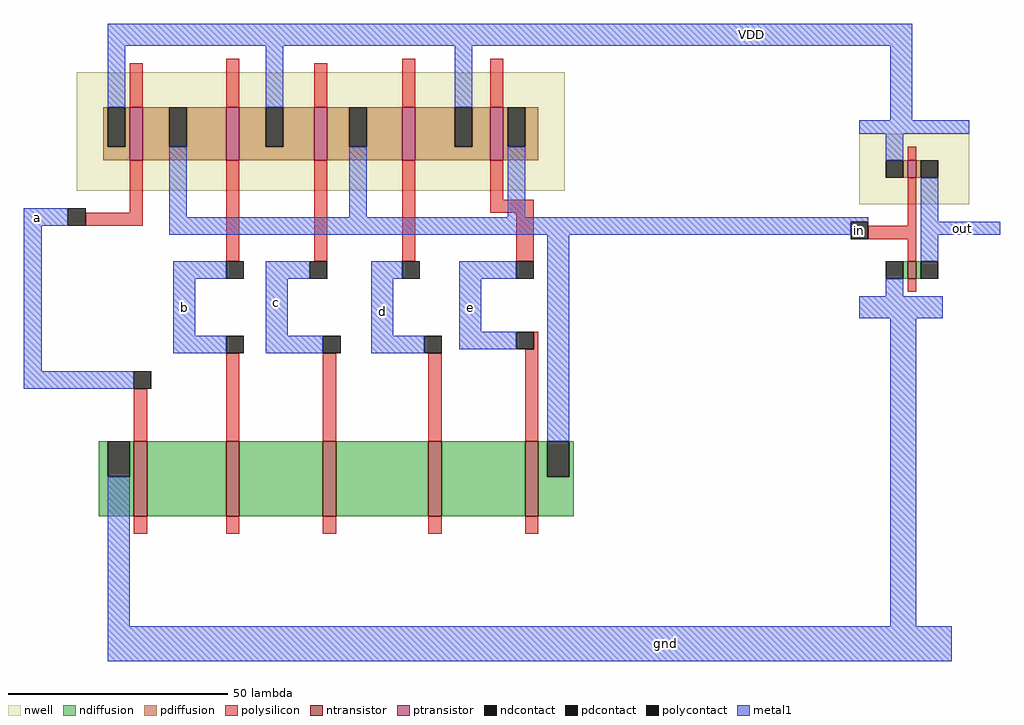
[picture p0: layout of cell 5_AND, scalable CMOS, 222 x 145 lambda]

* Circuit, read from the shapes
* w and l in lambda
.subckt 5_AND VDD a b c d e gnd in out
M1 n1 a gnd VSUBS nfet w=17 l=3
M2 n2 b n1 VSUBS nfet w=17 l=3
M3 n3 c n2 VSUBS nfet w=17 l=3
M4 n4 d n3 VSUBS nfet w=17 l=3
M5 in e n4 VSUBS nfet w=17 l=3
M6 out in gnd VSUBS nfet w=4 l=2
M7 in a VDD n5 pfet w=12 l=3
M8 VDD b in n5 pfet w=12 l=3
M9 in c VDD n5 pfet w=12 l=3
M10 VDD d in n5 pfet w=12 l=3
M11 in e VDD n5 pfet w=12 l=3
M12 out in VDD n6 pfet w=4 l=2
.ends

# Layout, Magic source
magic
tech scmos
<< nwell >>
rect -48 8 63 35
rect 130 5 155 21
<< ntransistor >>
rect 141 -12 143 -8
rect -35 -66 -32 -49
rect -14 -66 -11 -49
rect 8 -66 11 -49
rect 32 -66 35 -49
rect 54 -66 57 -49
<< ptransistor >>
rect -36 15 -33 27
rect -14 15 -11 27
rect 6 15 9 27
rect 26 15 29 27
rect 46 15 49 27
rect 141 11 143 15
<< ndiffusion >>
rect 140 -12 141 -8
rect 143 -12 144 -8
rect -43 -57 -41 -49
rect -36 -57 -35 -49
rect -43 -66 -35 -57
rect -32 -66 -14 -49
rect -11 -66 8 -49
rect 11 -66 32 -49
rect 35 -66 54 -49
rect 57 -57 59 -49
rect 64 -57 65 -49
rect 57 -66 65 -57
<< pdiffusion >>
rect -42 18 -41 27
rect -37 18 -36 27
rect -42 15 -36 18
rect -33 18 -27 27
rect -23 18 -14 27
rect -33 15 -14 18
rect -11 18 -5 27
rect -1 18 6 27
rect -11 15 6 18
rect 9 18 14 27
rect 18 18 26 27
rect 9 15 26 18
rect 29 18 38 27
rect 42 18 46 27
rect 29 15 46 18
rect 49 18 50 27
rect 54 18 57 27
rect 49 15 57 18
rect 140 11 141 15
rect 143 11 144 15
<< ndcontact >>
rect 136 -12 140 -8
rect 144 -12 148 -8
rect -41 -57 -36 -49
rect 59 -57 64 -49
<< pdcontact >>
rect -41 18 -37 27
rect -27 18 -23 27
rect -5 18 -1 27
rect 14 18 18 27
rect 38 18 42 27
rect 50 18 54 27
rect 136 11 140 15
rect 144 11 148 15
<< polysilicon >>
rect -36 27 -33 37
rect -14 27 -11 38
rect 6 27 9 37
rect 26 27 29 38
rect 46 27 49 38
rect 141 15 143 18
rect -36 3 -33 15
rect -46 0 -33 3
rect -14 -8 -11 15
rect 6 -8 9 15
rect 26 -8 29 15
rect 46 6 49 15
rect 46 3 56 6
rect 52 -8 56 3
rect 141 0 143 11
rect 132 -3 143 0
rect 141 -8 143 -3
rect 141 -15 143 -12
rect 56 -28 57 -24
rect -35 -49 -32 -37
rect -14 -49 -11 -29
rect 8 -49 11 -29
rect 32 -49 35 -29
rect 54 -49 57 -28
rect -35 -70 -32 -66
rect -14 -70 -11 -66
rect 8 -70 11 -66
rect 32 -70 35 -66
rect 54 -70 57 -66
<< polycontact >>
rect -50 0 -46 4
rect -14 -12 -10 -8
rect 5 -12 9 -8
rect 128 -3 132 1
rect 26 -12 30 -8
rect 52 -12 56 -8
rect -14 -29 -10 -25
rect 8 -29 12 -25
rect 31 -29 35 -25
rect 52 -28 56 -24
rect -35 -37 -31 -33
<< metal1 >>
rect -41 41 142 46
rect -41 27 -37 41
rect -5 27 -1 41
rect 38 27 42 41
rect 137 24 142 41
rect 130 21 155 24
rect -60 0 -50 4
rect -27 2 -23 18
rect 14 2 18 18
rect 50 2 54 18
rect 136 15 140 21
rect -27 1 132 2
rect -60 -33 -56 0
rect -27 -2 128 1
rect -26 -12 -14 -8
rect -5 -12 5 -8
rect 19 -12 26 -8
rect 39 -12 52 -8
rect -26 -25 -21 -12
rect -5 -25 0 -12
rect 19 -25 24 -12
rect 39 -24 44 -12
rect -26 -29 -14 -25
rect -5 -29 8 -25
rect 19 -29 31 -25
rect 39 -28 52 -24
rect -60 -37 -35 -33
rect 59 -49 64 -2
rect 144 1 148 11
rect 144 -2 162 1
rect 144 -8 148 -2
rect 136 -16 140 -12
rect 130 -21 149 -16
rect -41 -91 -36 -57
rect 137 -91 143 -21
rect -41 -99 151 -91
<< labels >>
rlabel metal1 -58 0 -56 4 3 a
rlabel metal1 -26 -21 -21 -16 1 b
rlabel metal1 -5 -20 0 -15 1 c
rlabel metal1 19 -22 24 -17 1 d
rlabel metal1 39 -21 44 -16 1 e
rlabel metal1 152 -2 155 1 1 out
rlabel polycontact 128 -3 132 1 1 in
rlabel metal1 83 -97 89 -93 1 gnd
rlabel metal1 105 43 106 44 5 VDD
<< end >>
